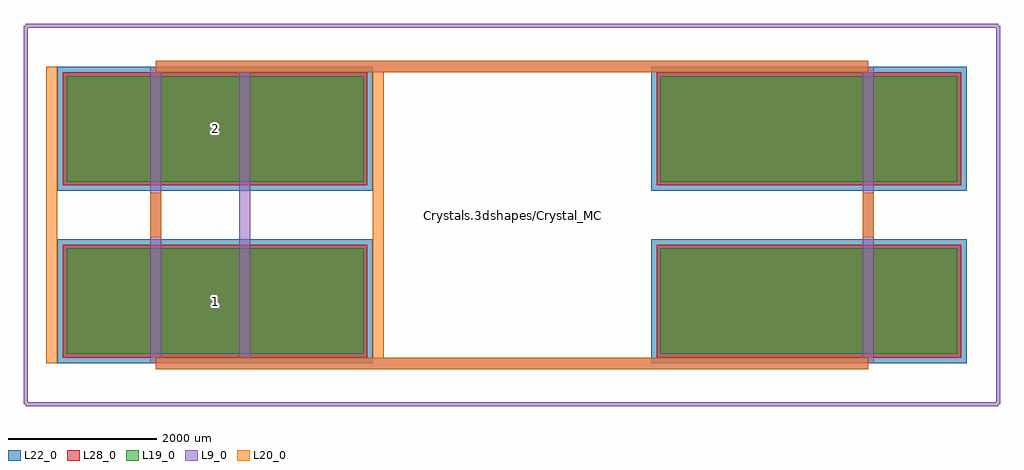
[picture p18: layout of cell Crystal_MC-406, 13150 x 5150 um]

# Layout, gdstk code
import gdstk
lib = gdstk.Library(unit=1e-6, precision=1e-09)
def R(c, l, rs):  # rectangles x0, y0, x1, y1
    for r in rs: c.add(gdstk.rectangle(r[:2], r[2:], *l))
L9_0 = (9, 0)
L19_0 = (19, 0)
L20_0 = (20, 0)
L22_0 = (22, 0)
L28_0 = (28, 0)

crystal_mc_406 = lib.new_cell('Crystal_MC-406')
R(crystal_mc_406, L19_0, [(-6000,-1870,-2000,-450), (2000,-1870,6000,-450), (-6000,450,-2000,1870), (2000,450,6000,1870)])
R(crystal_mc_406, L22_0, [(-6125,-1995,-1875,-325), (1875,-1995,6125,-325), (-6125,325,-1875,1995), (1875,325,6125,1995)])
R(crystal_mc_406, L28_0, [(-6050,-1920,-1950,-400), (1950,-1920,6050,-400), (-6050,400,-1950,1920), (1950,400,6050,1920)])
crystal_mc_406.add(gdstk.FlexPath([(-4800,-2000),(4800,-2000)], 149.998, ends="flush", simple_path=True, layer=9, datatype=0))  # L9_0
crystal_mc_406.add(gdstk.FlexPath([(4800,2000),(-4800,2000)], 149.998, ends="flush", simple_path=True, layer=9, datatype=0))  # L9_0
crystal_mc_406.add(gdstk.FlexPath([(-4800,-2000),(-4800,2000)], 149.998, ends="flush", simple_path=True, layer=9, datatype=0))  # L9_0
crystal_mc_406.add(gdstk.FlexPath([(4800,2000),(4800,-2000)], 149.998, ends="flush", simple_path=True, layer=9, datatype=0))  # L9_0
crystal_mc_406.add(gdstk.FlexPath([(-1800,-2000),(-1800,2000)], 149.998, ends="flush", simple_path=True, layer=20, datatype=0))  # L20_0
crystal_mc_406.add(gdstk.FlexPath([(-6550,-2550),(-6550,2550)], 50, ends="flush", simple_path=True, layer=9, datatype=0))  # L9_0
crystal_mc_406.add(gdstk.FlexPath([(6550,-2550),(-6550,-2550)], 50, ends="flush", simple_path=True, layer=9, datatype=0))  # L9_0
crystal_mc_406.add(gdstk.FlexPath([(6550,2550),(6550,-2550)], 50, ends="flush", simple_path=True, layer=9, datatype=0))  # L9_0
crystal_mc_406.add(gdstk.FlexPath([(-6550,2550),(6550,2550)], 50, ends="flush", simple_path=True, layer=9, datatype=0))  # L9_0
crystal_mc_406.add(gdstk.FlexPath([(-3600,2000),(-3600,-2000)], 149.998, ends="flush", simple_path=True, layer=9, datatype=0))  # L9_0
crystal_mc_406.add(gdstk.FlexPath([(-4800,2000),(4800,2000)], 149.998, ends="flush", simple_path=True, layer=20, datatype=0))  # L20_0
crystal_mc_406.add(gdstk.FlexPath([(4800,-2000),(-4800,-2000)], 149.998, ends="flush", simple_path=True, layer=20, datatype=0))  # L20_0
crystal_mc_406.add(gdstk.FlexPath([(-4800,-300),(-4800,300)], 149.998, ends="flush", simple_path=True, layer=20, datatype=0))  # L20_0
crystal_mc_406.add(gdstk.FlexPath([(4800,-300),(4800,300)], 149.998, ends="flush", simple_path=True, layer=20, datatype=0))  # L20_0
crystal_mc_406.add(gdstk.FlexPath([(-6200,-2000),(-6200,2000)], 149.998, ends="flush", simple_path=True, layer=20, datatype=0))  # L20_0
crystal_mc_406.add(gdstk.Label('Crystals.3dshapes/Crystal_MC-406.wrl', (0,0), layer=12, texttype=0))
crystal_mc_406.add(gdstk.Label('2', (-4000,1160), layer=28, texttype=0))
crystal_mc_406.add(gdstk.Label('1', (-4000,-1160), layer=28, texttype=0))
crystal_mc_406.add(gdstk.Label('type', (0,-3350), layer=9, texttype=0))
crystal_mc_406.add(gdstk.Label('devicename', (0,3200), layer=9, texttype=0))

lib.write_gds('Crystal_MC-406.gds')
